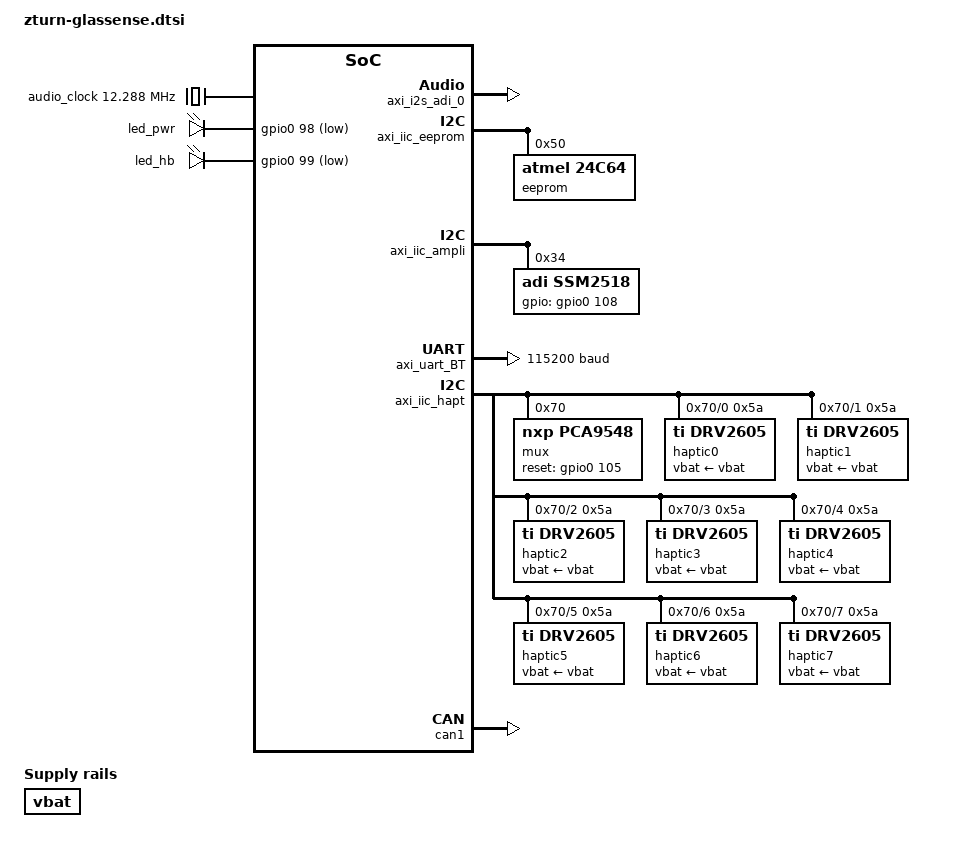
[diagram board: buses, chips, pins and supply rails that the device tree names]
&amba {

    axi_i2s_adi_0: axi_i2s_adi@43c20000 {
        compatible = "adi,axi-i2s-1.00.a";
        reg = <0x43c20000 0x10000>;
        dmas = <&dmac_s 0 &dmac_s 1>;
        dma-names = "tx", "rx";
        clocks = <&clkc 15>, <&audio_clock>, <&audio_clock>;
        clock-names = "axi", "ref", "i2s";
    };
    
    audio_clock: audio_clock {
        compatible = "fixed-clock";
        #clock-cells = <0>;
        clock-frequency = <12288000>;
    };
    
    glassense_aux_sound {
        compatible = "iit,glassense"; 
        cpu-dai = <&axi_i2s_adi_0>;
    };

    fir_top_0: fir_top@43c00000 {
		compatible = "iit,glbform-1.0";
		interrupt-parent = <&intc>;
		interrupts = <0 29 4>, <0 4>;
		reg = <0x43c00000 0x10000>;
		xlnx,burstlen = <0x2>;
		xlnx,nummics = <0x4>;
        //   the following are related to miscellaneous
		iit_enable = <0x43c10000>;
		iit_ordnum = <0x0>;
	};
    
    miscellaneus_0: miscellaneus@43c10000 {
		compatible = "iit.it,miscellaneus-1.1";
		reg = <0x43c10000 0x10000>;
	};

    axi_iic_eeprom: i2c@41600000 {
		#address-cells = <1>;
		#size-cells = <0>;
		compatible = "xlnx,xps-iic-2.00.a";
		interrupt-parent = <&intc>;
		interrupts = <0 32 4>;
		reg = <0x41600000 0x10000>;
        eeprom: eeprom@50 {
	        compatible = "atmel,24c64";
	        reg = <0x50>;
	        pagesize = <64>;
        };  
	};

	axi_iic_ampli: i2c@41620000 {
		#address-cells = <1>;
		#size-cells = <0>;
		compatible = "xlnx,xps-iic-2.00.a";
		interrupt-parent = <&intc>;
		interrupts = <0 35 4>;
		reg = <0x41620000 0x10000>;
        ssm2518: ssm2518@34 {
            compatible = "adi,ssm2518";
            reg = <0x34>;
           /* 
            * nSD Active Low shutdown
            * 54+54 means GPIO54,  
            */
            gpios = <&gpio0 108 0>;
        };
	};
    ampli_sound {
        compatible = "digilent,ssm2518-sound";
        audio-codec = <&ssm2518>;
        cpu-dai = <&axi_i2s_adi_0>;
    };
/*
    axi_iic_temp: i2c@41610000 {
        #address-cells = <1>;
        #size-cells = <0>;
        compatible = "xlnx,xps-iic-2.00.a";
        interrupt-parent = <&intc>;
        interrupts = <0 34 4>;
        reg = <0x41610000 0x10000>;
    };
*/
    axi_uart_BT: serial@42c00000 {
        clock-names = "ref_clk";
        clocks = <&clkc 0>;
        compatible = "xlnx,xps-uartlite-1.00.a";
        current-speed = <115200>;
        device_type = "serial";
        interrupt-parent = <&intc>;
        interrupts = <0 36 1>;
        port-number = <2>;
        reg = <0x42c00000 0x10000>;
        xlnx,baudrate = <0x2580>;
        xlnx,data-bits = <0x8>;
        xlnx,odd-parity = <0x0>;
        xlnx,s-axi-aclk-freq-hz-d = "100.0";
        xlnx,use-parity = <0x0>;
    };

   vbat: fixed-regulator {
       compatible = "regulator-fixed";
       regulator-name = "dummy-vbat-supply";
       regulator-boot-on;
       regulator-always-on;
   };

   axi_iic_hapt: i2c@41630000 {
       #address-cells = <1>;
       #size-cells = <0>;
       compatible = "xlnx,xps-iic-2.00.a";
       interrupt-parent = <&intc>;
       interrupts = <0 52 4>;
       reg = <0x41630000 0x10000>;

       mux@70 {
           compatible = "nxp,pca9548";
           reg = <0x70>;
           #address-cells = <1>;
           #size-cells = <0>;
           reset = <&gpio0 105 0>;

           i2c@0 {
               #address-cells = <1>;
               #size-cells = <0>;
               reg = <0>;

               haptic0: haptics@5a {
                   compatible = "ti,drv2605";
                   reg = <0x5a>;
                   vbat-supply = <&vbat>;
                   // enable-gpio = <&gpio0 103 0>; alway enabled
                   mode = <0x00>;
                   library-sel = <0x06>;
                   vib-rated-mv = <3200>;
                   vib-overdriver-mv = <5000>;
               };
           };
           i2c@1 {
               #address-cells = <1>;
               #size-cells = <0>;
               reg = <1>;

               haptic1: haptics@5a {
                   compatible = "ti,drv2605";
                   reg = <0x5a>;
                   vbat-supply = <&vbat>;
                   // enable-gpio = <&gpio0 103 0>; alway enabled
                   mode = <0x00>;
                   library-sel = <0x06>;
                   vib-rated-mv = <3200>;
                   vib-overdriver-mv = <5000>;
               };
           };
           i2c@2 {
               #address-cells = <1>;
               #size-cells = <0>;
               reg = <2>;

               haptic2: haptics@5a {
                   compatible = "ti,drv2605";
                   reg = <0x5a>;
                   vbat-supply = <&vbat>;
                   // enable-gpio = <&gpio0 103 0>; alway enabled
                   mode = <0x00>;
                   library-sel = <0x06>;
                   vib-rated-mv = <3200>;
                   vib-overdriver-mv = <5000>;
               };
           };
           i2c@3 {
               #address-cells = <1>;
               #size-cells = <0>;
               reg = <3>;

               haptic3: haptics@5a {
                   compatible = "ti,drv2605";
                   reg = <0x5a>;
                   vbat-supply = <&vbat>;
                   // enable-gpio = <&gpio0 103 0>; alway enabled
                   mode = <0x00>;
                   library-sel = <0x06>;
                   vib-rated-mv = <3200>;
                   vib-overdriver-mv = <5000>;
               };
           };
           i2c@4 {
               #address-cells = <1>;
               #size-cells = <0>;
               reg = <4>;

               haptic4: haptics@5a {
                   compatible = "ti,drv2605";
                   reg = <0x5a>;
                   vbat-supply = <&vbat>;
                   // enable-gpio = <&gpio0 104 0>; alway enabled
                   mode = <0x00>;
                   library-sel = <0x06>;
                   vib-rated-mv = <3200>;
                   vib-overdriver-mv = <5000>;
               };
           };
           i2c@5 {
               #address-cells = <1>;
               #size-cells = <0>;
               reg = <5>;

               haptic5: haptics@5a {
                   compatible = "ti,drv2605";
                   reg = <0x5a>;
                   vbat-supply = <&vbat>;
                   // enable-gpio = <&gpio0 104 0>; alway enabled
                   mode = <0x00>;
                   library-sel = <0x06>;
                   vib-rated-mv = <3200>;
                   vib-overdriver-mv = <5000>;
               };
           };
           i2c@6 {
               #address-cells = <1>;
               #size-cells = <0>;
               reg = <6>;

               haptic6: haptics@5a {
                   compatible = "ti,drv2605";
                   reg = <0x5a>;
                   vbat-supply = <&vbat>;
                   // enable-gpio = <&gpio0 104 0>; alway enabled
                   mode = <0x00>;
                   library-sel = <0x06>;
                   vib-rated-mv = <3200>;
                   vib-overdriver-mv = <5000>;
               };
           };
           i2c@7 {
               #address-cells = <1>;
               #size-cells = <0>;
               reg = <7>;

               haptic7: haptics@5a {
                   compatible = "ti,drv2605";
                   reg = <0x5a>;
                   vbat-supply = <&vbat>;
                   // enable-gpio = <&gpio0 104 0>; alway enabled
                   mode = <0x00>;
                   library-sel = <0x06>;
                   vib-rated-mv = <3200>;
                   vib-overdriver-mv = <5000>;
               };
           };
       };

   };

    gcpr_0: gcpr@43c30000 {
        compatible = "iit,gcpr-2.1";
        interrupt-parent = <&intc>;
        interrupts = <0 53 4>;
        reg = <0x43c30000 0x10000>;
        xlnx,dbg = <0x0>;
        xlnx,num-regs = <0x2>;
        xlnx,permission-regs = <0x2>;
    };

    gpio-leds {
        compatible = "gpio-leds";


// MIO0 in Glassense is the BT Power ON
//
//       usr_led1 {
//           label = "usr_led1";
//           //  MIO0 
//           gpios = <&gpio0 0 1>;
//           default-state = "off";
//           linux,default-trigger = "none";
//       };
//

        led_pwr {
                label = "led_pwr";
                gpios = <&gpio0 98 0x1>;
                default-state = "off";
                linux,default-trigger = "none";
        };

        led_hb {
                label = "led_hb";
                gpios = <&gpio0 99 0x1>;
                default-state = "off";
                linux,default-trigger = "none";
        };
        
    }; 

};

    &can1 {
	    status = "okay";
    };
